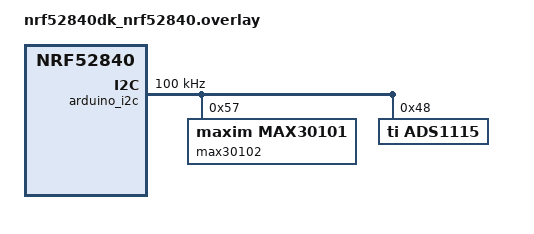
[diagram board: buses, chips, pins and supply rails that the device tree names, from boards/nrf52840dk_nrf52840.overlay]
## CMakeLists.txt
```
cmake_minimum_required(VERSION 3.20.0)
find_package(Zephyr REQUIRED HINTS $ENV{ZEPHYR_BASE})
project(nrf52840_smarthealth)

target_sources(app PRIVATE
    src/main.c
    src/temp_sensor.c
    ../src/max30102.c        # your teammates' existing driver
)

target_include_directories(app PRIVATE src ../src)

# math.h (log()) — link libm
target_link_libraries(app PRIVATE m)
```

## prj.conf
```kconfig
# prj.conf — SmartHealth nRF52840 (MAX30102 + ADS1115 thermistor)

CONFIG_UART_CONSOLE=y
CONFIG_PRINTK=y

CONFIG_I2C=y
CONFIG_GPIO=y

CONFIG_LOG=y
CONFIG_LOG_DEFAULT_LEVEL=3

CONFIG_MAIN_STACK_SIZE=4096

# Floating-point support for Steinhart-Hart temperature equation (log())
CONFIG_FPU=y
CONFIG_FPU_SHARING=y
CONFIG_NEWLIB_LIBC=y
CONFIG_NEWLIB_LIBC_FLOAT_PRINTF=n
```

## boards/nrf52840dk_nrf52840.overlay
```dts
/*
 * boards/nrf52840dk_nrf52840.overlay
 *
 * Adds both MAX30102 and ADS1115 to the arduino_i2c bus.
 * SDA = P0.26  |  SCL = P0.27
 */

&arduino_i2c {
    status = "okay";
    clock-frequency = <I2C_BITRATE_STANDARD>;  /* 100 kHz */

    /* ── MAX30102 pulse oximeter ── */
    max30102: max30102@57 {
        compatible = "maxim,max30101";
        reg = <0x57>;
        status = "okay";
    };

    /* ── ADS1115 ADC (NTC thermistor on AIN0) ── */
    ads1115: ads1115@48 {
        compatible = "ti,ads1115";
        reg = <0x48>;          /* ADDR pin → GND */
        status = "okay";
    };
};
```

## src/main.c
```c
/*
 * nrf52840_app/src/main.c  (updated — adds ADS1115 temperature sensor)
 *
 * Runs two sensors concurrently on the same I2C bus:
 *   • MAX30102  — heart-rate / SpO2   (I2C 0x57)
 *   • ADS1115   — NTC thermistor temp  (I2C 0x48, AIN0)
 *
 * Wiring summary:
 *   VCC → 3V3  |  GND → GND
 *   SDA → P0.26  |  SCL → P0.27   (shared bus for both ICs)
 *   ADS1115 ADDR → GND  (sets address to 0x48)
 *   Thermistor → AIN0 of ADS1115; 9.1 kΩ resistor from AIN0 → GND
 */

#include <zephyr/kernel.h>
#include <zephyr/device.h>
#include <zephyr/drivers/i2c.h>
#include "max30102.h"
#include "temp_sensor.h"

#define I2C_NODE            DT_NODELABEL(arduino_i2c)

#define WARMUP_MS           3000
#define READ_INTERVAL_MS    500

/* How often to dump the full temperature log (every N temp readings) */
#define TEMP_LOG_DUMP_EVERY 20

int main(void)
{
    printk("\n=== SmartHealth Monitor — nRF52840 DK / Zephyr ===\n");
    printk("    MAX30102 (HR/SpO2) + ADS1115 NTC Thermistor\n\n");

    /* ── Get shared I2C bus ─────────────────────────────────────────── */
    const struct device *i2c = DEVICE_DT_GET(I2C_NODE);
    if (!device_is_ready(i2c)) {
        printk("ERROR: I2C bus not ready — check overlay and wiring\n");
        return -1;
    }

    /* ── Init MAX30102 ──────────────────────────────────────────────── */
    max30102_config_t cfg = {
        .i2c_dev         = i2c,
        .mode            = MODE_SPO2,
        .sample_rate     = SPO2_SR_100,
        .pulse_width     = SPO2_PW_411US_18BIT,
        .adc_range       = SPO2_ADC_RGE_32768,
        .led_current_red = 0xC0,
        .led_current_ir  = 0xC0,
        .sample_avg      = FIFO_SMP_AVE_4,
    };

    int ret = max30102_init(&cfg);
    if (ret < 0) {
        printk("ERROR: MAX30102 init failed (%d)\n", ret);
        return -1;
    }
    printk("MAX30102 ready.\n");

    /* ── Init ADS1115 temperature sensor ────────────────────────────── */
    ret = temp_sensor_init(i2c);
    if (ret < 0) {
        printk("ERROR: ADS1115/temp sensor init failed (%d)\n", ret);
        return -1;
    }
    printk("ADS1115 temperature sensor ready.\n");

    /* ── Warm-up delay ──────────────────────────────────────────────── */
    printk("\nWarming up %d ms — place finger on MAX30102...\n\n", WARMUP_MS);
    k_sleep(K_MSEC(WARMUP_MS));

    /* ── Main loop ──────────────────────────────────────────────────── */
    max30102_data_t  hr_data;
    temp_reading_t   temp_data;
    int tick = 0;

    while (1) {
        /* 1. Read MAX30102 (HR / SpO2) */
        ret = max30102_read(&cfg, &hr_data);

        if (ret < 0) {
            printk("[%4d] MAX30102 ERROR (%d)\n", tick, ret);
        } else if (!hr_data.valid) {
            printk("[%4d] HR: waiting...   IR=%-6u  Red=%-6u\n",
                   tick, hr_data.ir_raw, hr_data.red_raw);
        } else {
            printk("[%4d] HR: %3d bpm  SpO2: %3d %%  (IR=%-6u Red=%-6u)\n",
                   tick,
                   hr_data.heart_rate_bpm,
                   hr_data.spo2_percent,
                   hr_data.ir_raw,
                   hr_data.red_raw);
        }

        /* 2. Read ADS1115 temperature */
        ret = temp_sensor_read(&temp_data);

        if (ret < 0 || !temp_data.valid) {
            printk("[%4d] TEMP: read error (%d)\n", tick, ret);
        } else {
            int32_t deg  = temp_data.celsius_mdeg / 1000;
            int32_t mdeg = temp_data.celsius_mdeg % 1000;
            if (mdeg < 0) { mdeg = -mdeg; }

            printk("[%4d] TEMP: %d.%03d °C  (t=%u ms)\n",
                   tick, deg, mdeg, temp_data.timestamp_ms);
        }

        /* 3. Periodically print the stored temperature log */
        if ((tick > 0) && (tick % TEMP_LOG_DUMP_EVERY == 0)) {
            uint32_t count = 0;
            const temp_reading_t *log = temp_sensor_get_log(&count);

            printk("\n--- Temperature log dump (%u entries) ---\n", count);
            for (uint32_t i = 0; i < count; i++) {
                if (!log[i].valid) {
                    printk("  [%3u] INVALID (t=%u ms)\n",
                           i, log[i].timestamp_ms);
                } else {
                    int32_t d = log[i].celsius_mdeg / 1000;
                    int32_t m = log[i].celsius_mdeg % 1000;
                    if (m < 0) { m = -m; }
                    printk("  [%3u] %d.%03d °C  (t=%u ms)\n",
                           i, d, m, log[i].timestamp_ms);
                }
            }
            printk("-----------------------------------------\n\n");
        }

        tick++;
        k_sleep(K_MSEC(READ_INTERVAL_MS));
    }

    return 0;
}
```

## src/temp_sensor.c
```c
#include "temp_sensor.h"
#include <zephyr/kernel.h>
#include <zephyr/drivers/i2c.h>
#include <zephyr/logging/log.h>
#include <math.h>

LOG_MODULE_REGISTER(temp_sensor, LOG_LEVEL_INF);

static const struct device *s_i2c_dev;
static temp_reading_t       s_log[TEMP_LOG_MAX_ENTRIES];
static uint32_t             s_log_count;
static uint32_t             s_log_head;

static int ads1115_start_conversion(void)
{
    uint8_t buf[3];
    uint16_t cfg = ADS1115_CONFIG_WORD;
    buf[0] = ADS1115_REG_CONFIG;
    buf[1] = (uint8_t)(cfg >> 8);
    buf[2] = (uint8_t)(cfg & 0xFF);
    return i2c_write(s_i2c_dev, buf, sizeof(buf), ADS1115_I2C_ADDR);
}

static int ads1115_wait_ready(void)
{
    uint8_t reg = ADS1115_REG_CONFIG;
    uint8_t rbuf[2];
    int ret;
    int tries = 20;
    while (tries-- > 0) {
        k_sleep(K_MSEC(5));
        ret = i2c_write_read(s_i2c_dev, ADS1115_I2C_ADDR, &reg, 1, rbuf, 2);
        if (ret < 0) return ret;
        uint16_t cfg_read = ((uint16_t)rbuf[0] << 8) | rbuf[1];
        if (cfg_read & ADS1115_CFG_OS) return 0;
    }
    LOG_WRN("ADS1115 conversion timeout");
    return -ETIMEDOUT;
}

static int ads1115_read_result(int16_t *raw_out)
{
    uint8_t reg = ADS1115_REG_CONVERT;
    uint8_t rbuf[2];
    int ret = i2c_write_read(s_i2c_dev, ADS1115_I2C_ADDR, &reg, 1, rbuf, 2);
    if (ret < 0) return ret;
    *raw_out = (int16_t)(((uint16_t)rbuf[0] << 8) | rbuf[1]);
    return 0;
}

static int32_t raw_to_millidegrees(int16_t raw)
{
    if (raw <= 0) raw = 1;

    int32_t v_mv = ((int32_t)raw * ADS1115_FSR_MV) / ADS1115_MAX_CODE;
    if (v_mv >= VCC_MV) v_mv = VCC_MV - 1;

    int32_t r_ntc_ohm = (int32_t)R_FIXED_OHM * (VCC_MV - v_mv) / v_mv;
    if (r_ntc_ohm <= 0) r_ntc_ohm = 1;

    double ln_ratio = log((double)r_ntc_ohm / (double)NTC_R0_OHM);
    double inv_T    = (1.0 / (double)NTC_T0_KELVIN) + (ln_ratio / (double)NTC_BETA);
    double T_kelvin = 1.0 / inv_T;
    double T_celsius = T_kelvin - 273.15;

    return (int32_t)(T_celsius * 1000.0);
}

int temp_sensor_init(const struct device *i2c)
{
    if (!device_is_ready(i2c)) { LOG_ERR("I2C device not ready"); return -ENODEV; }
    s_i2c_dev   = i2c;
    s_log_count = 0;
    s_log_head  = 0;
    int ret = ads1115_start_conversion();
    if (ret < 0) { LOG_ERR("ADS1115 not responding on I2C (addr 0x%02X): %d", ADS1115_I2C_ADDR, ret); return ret; }
    LOG_INF("ADS1115 temperature sensor initialised (addr 0x%02X)", ADS1115_I2C_ADDR);
    return 0;
}

int temp_sensor_read(temp_reading_t *out)
{
    if (!out) return -EINVAL;
    out->valid        = false;
    out->celsius_mdeg = 0;
    out->timestamp_ms = k_uptime_get_32();

    int ret = ads1115_start_conversion();
    if (ret < 0) { LOG_ERR("Failed to start ADS1115 conversion: %d", ret); goto store_and_return; }

    ret = ads1115_wait_ready();
    if (ret < 0) { LOG_ERR("ADS1115 conversion wait failed: %d", ret); goto store_and_return; }

    int16_t raw = 0;
    ret = ads1115_read_result(&raw);
    if (ret < 0) { LOG_ERR("Failed to read ADS1115 result: %d", ret); goto store_and_return; }

    out->celsius_mdeg = raw_to_millidegrees(raw);
    out->valid        = true;
    LOG_INF("Temp: %d.%03d degC  (raw ADC: %d)",
            out->celsius_mdeg / 1000,
            (out->celsius_mdeg >= 0) ? (out->celsius_mdeg % 1000) : (-(out->celsius_mdeg % 1000)),
            raw);

store_and_return:
    s_log[s_log_head] = *out;
    s_log_head = (s_log_head + 1) % TEMP_LOG_MAX_ENTRIES;
    if (s_log_count < TEMP_LOG_MAX_ENTRIES) s_log_count++;
    return ret;
}

const temp_reading_t *temp_sensor_get_log(uint32_t *count_out)
{
    if (count_out) *count_out = (s_log_count < TEMP_LOG_MAX_ENTRIES) ? s_log_count : TEMP_LOG_MAX_ENTRIES;
    return s_log;
}

void temp_sensor_clear_log(void)
{
    s_log_count = 0;
    s_log_head  = 0;
    LOG_INF("Temperature log cleared");
}
```

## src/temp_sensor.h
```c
/*
 * temp_sensor.h
 * NTC Thermistor temperature reading via ADS1115 ADC (I2C)
 *
 * Hardware setup:
 *   - ADS1115 connected via I2C (SDA = P0.26, SCL = P0.27)
 *   - NTC thermistor in voltage divider with 9.1kΩ pull-down to GND
 *   - Top rail = 3.3V, thermistor output → AIN0 (A0) of ADS1115
 *   - ADS1115 I2C address: 0x48 (ADDR pin → GND)
 */

#ifndef TEMP_SENSOR_H
#define TEMP_SENSOR_H

#include <zephyr/kernel.h>
#include <zephyr/device.h>
#include <zephyr/drivers/i2c.h>
#include <stdint.h>
#include <stdbool.h>

/* ── ADS1115 I2C address ──────────────────────────────────────────────────── */
#define ADS1115_I2C_ADDR        0x48   /* ADDR pin tied to GND */

/* ── ADS1115 register pointers ───────────────────────────────────────────── */
#define ADS1115_REG_CONVERT     0x00
#define ADS1115_REG_CONFIG      0x01

/*
 * Config register (16-bit):
 *   OS[15]      = 1        → start single-shot conversion
 *   MUX[14:12]  = 100b     → AIN0 vs GND (single-ended)
 *   PGA[11:9]   = 001b     → FSR = ±4.096 V  (covers 3.3 V rail)
 *   MODE[8]     = 1        → single-shot
 *   DR[7:5]     = 100b     → 128 SPS
 *   COMP[4:0]   = 00011b   → comparator disabled, active-low, non-latching
 */
#define ADS1115_CFG_OS          (1u << 15)
#define ADS1115_CFG_MUX_AIN0   (0x4u << 12)
#define ADS1115_CFG_PGA_4V096  (0x1u << 9)
#define ADS1115_CFG_MODE_SS    (1u << 8)
#define ADS1115_CFG_DR_128SPS  (0x4u << 5)
#define ADS1115_CFG_COMP_OFF   (0x3u << 0)

#define ADS1115_CONFIG_WORD  (ADS1115_CFG_OS       | \
                              ADS1115_CFG_MUX_AIN0 | \
                              ADS1115_CFG_PGA_4V096 | \
                              ADS1115_CFG_MODE_SS  | \
                              ADS1115_CFG_DR_128SPS | \
                              ADS1115_CFG_COMP_OFF)

/* ── Thermistor / voltage-divider parameters ─────────────────────────────── */
#define VCC_MV              3300     /* supply rail in millivolts            */
#define R_FIXED_OHM         9100     /* 9.1 kΩ pull-down resistor            */

/*
 * Steinhart–Hart β-parameter equation:
 *   1/T = 1/T0 + (1/β) · ln(R/R0)
 *
 * Typical NTC 10 kΩ @ 25 °C values — adjust to your part's datasheet.
 */
#define NTC_BETA            3964     /* β coefficient (K)                    */
#define NTC_R0_OHM          10000    /* resistance at reference temp (Ω)     */
#define NTC_T0_KELVIN       298      /* reference temp 25 °C in Kelvin       */

/* ── ADS1115 full-scale for PGA ±4.096 V ────────────────────────────────── */
#define ADS1115_FSR_MV      4096     /* full-scale range in mV               */
#define ADS1115_MAX_CODE    32767    /* 15-bit positive range                 */

/* ── Storage ─────────────────────────────────────────────────────────────── */
#define TEMP_LOG_MAX_ENTRIES  128    /* circular buffer depth                 */

typedef struct {
    int32_t  celsius_mdeg;  /* temperature in milli-°C (e.g. 23500 = 23.5°C) */
    uint32_t timestamp_ms;  /* k_uptime_get_32() at time of reading           */
    bool     valid;         /* false if ADC read or conversion failed         */
} temp_reading_t;

/* ── Public API ──────────────────────────────────────────────────────────── */

/**
 * @brief  Initialise the ADS1115 and clear the log buffer.
 * @param  i2c  Ready I2C device pointer (arduino_i2c).
 * @return 0 on success, negative errno on failure.
 */
int temp_sensor_init(const struct device *i2c);

/**
 * @brief  Trigger one conversion, wait for result, compute temperature,
 *         append to circular log, and return the reading.
 * @param  out  Filled with the latest reading (may have valid=false on error).
 * @return 0 on success, negative errno on I2C error.
 */
int temp_sensor_read(temp_reading_t *out);

/**
 * @brief  Return a pointer to the internal circular log and its fill count.
 * @param  count_out  Set to the number of valid entries stored so far
 *                    (saturates at TEMP_LOG_MAX_ENTRIES).
 * @return Pointer to the log array (do not free).
 */
const temp_reading_t *temp_sensor_get_log(uint32_t *count_out);

/**
 * @brief  Clear the log buffer and reset the entry counter.
 */
void temp_sensor_clear_log(void);

#endif /* TEMP_SENSOR_H */
```
